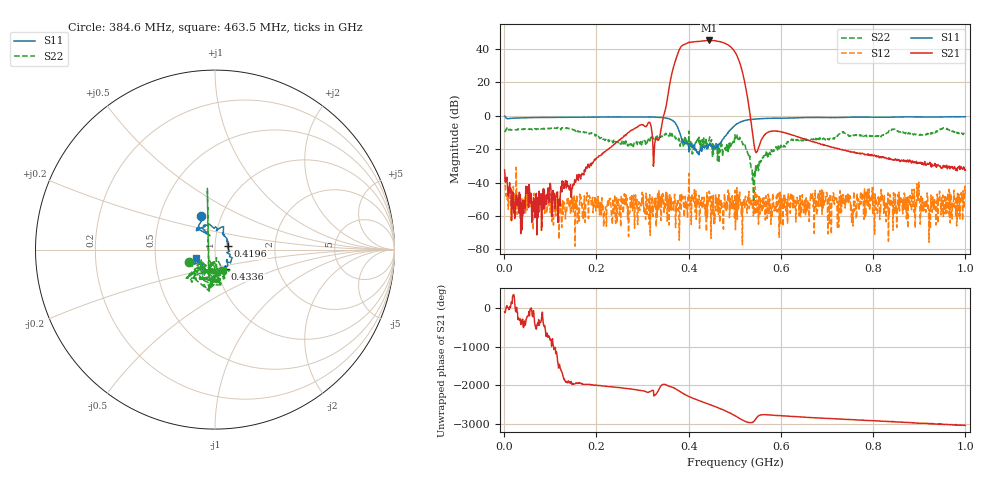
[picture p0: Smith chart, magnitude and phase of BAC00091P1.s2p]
!measured: 2026-10-29T11:23:31
!cal_instance: BB
!cal_created: 2026-10-29T10:46
!cal_file: SOLT_12_1_00M-1_00G_1001pt.cal
!port1_delay_ps: 0.0
!port2_delay_ps: 0.0
!host: lindon
! Created with skrf 2.1.0 (http://scikit-rf.org).
# Hz S RI R 50.0
!freq ReS11 ImS11 ReS21 ImS21 ReS12 ImS12 ReS22 ImS22
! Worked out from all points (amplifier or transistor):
!   1001 points, 1 MHz to 1 GHz, reference 50 ohm
!   highest |S21| = 45.0 dB at 444.6 MHz (marker M1)
!   |S21| within 3 dB of that: 386.3 MHz to 487.3 MHz (101 MHz wide, 23.1 % of centre)
!   unconditionally stable (mu >= 1): start of sweep to 400 MHz; 446 MHz to 485.4 MHz; 504.6 MHz to end of sweep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
!   at 166.8 MHz: K = 1369.14, MAG = -27.5 dB, |S12| = -49.0 dB
!   at 500.5 MHz: K = 0.92, MSG = 41.3 dB, |S12| = -44.6 dB
!   at 1 GHz: K = 608.00, MAG = -23.7 dB, |S12| = -46.9 dB
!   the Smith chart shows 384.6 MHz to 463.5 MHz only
!   S11 on the Smith chart (normalised r, x): 384.6 MHz: 0.80, +0.32; 419.6 MHz: 1.15, +0.05; 433.6 MHz: 1.09, -0.23; 463.5 MHz: 0.81, -0.08
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1000000  -0.3016 0.9279  -0.00319 -0.0237  -0.0125 -0.00795  0.35 -0.0588
1.67833e8  0.5567 -0.7072  -0.0139 -0.00863  0.00182 -0.000897  0.0153 -0.3277
3.34666e8  -0.7343 -0.5221  0.1436 0.1172  -0.00123 0.00093  0.0915 -0.1953
3.73627e8  -0.3453 0.4048  29.38 46.57  0.00192 -0.00119  -0.0916 -0.1719
3.84616e8  -0.0769 0.1885  109.5 -50.6  -0.00111 0.00445  -0.1438 -0.0715
3.91609e8  -0.0971 0.1152  41.61 -130.8  9.43e-05 -0.00177  -0.159 -0.1582
3.98602e8  -0.0815 0.1205  -63.66 -136.8  -0.00222 -0.00282  -0.0703 -0.1342
4.09591e8  0.0139 0.1156  -158.2 -26  -0.000659 -0.00328  -0.0133 -0.076
4.19581e8  0.0707 0.0196  -131.1 101.9  -0.00246 -0.000309  -0.0335 -0.1856
4.33567e8  0.0564 -0.1059  27.66 171.2  0.000414 0.00364  0.0834 -0.1131
4.44556e8  -0.0795 -0.1031  150.1 95.88  0.00177 -0.00525  -0.1099 -0.1659
4.53547e8  -0.084 -0.0618  174.8 -24.54  0.000602 -0.00411  -0.0283 -0.0634
4.63537e8  -0.1032 -0.0479  99.22 -136.5  -0.000508 -0.00358  0.044 -0.1129
4.72528e8  -0.1868 -0.00125  -20.4 -156  -0.00143 0.00126  -0.000565 -0.1171
4.83517e8  -0.2157 0.1854  -123.7 -56.54  -0.00133 -0.00097  0.0148 -0.0906
4.93507e8  -0.1166 0.4051  -88.07 61.27  0.00132 0.00129  -0.0441 -0.1386
5.005e8  0.0258 0.5228  -12.28 78.94  -0.00564 0.00167  -0.0901 -0.252
5.08492e8  0.2602 0.5547  34.6 31.56  0.000468 -0.0017  -0.1348 -0.1739
5.2048e8  0.5577 0.4379  9.342 -7.124  -0.00214 -0.00068  -0.1127 -0.0599
6.67333e8  0.3477 -0.814  0.1096 0.1297  0.0024 0.00181  0.1268 -0.1507
8.34166e8  -0.2142 -0.8723  0.0339 -0.0427  0.000469 -0.00145  0.0114 -0.3576
1e9  -0.5713 -0.73  -0.0211 -0.0106  0.0044 -0.00095  -0.0709 -0.2771
